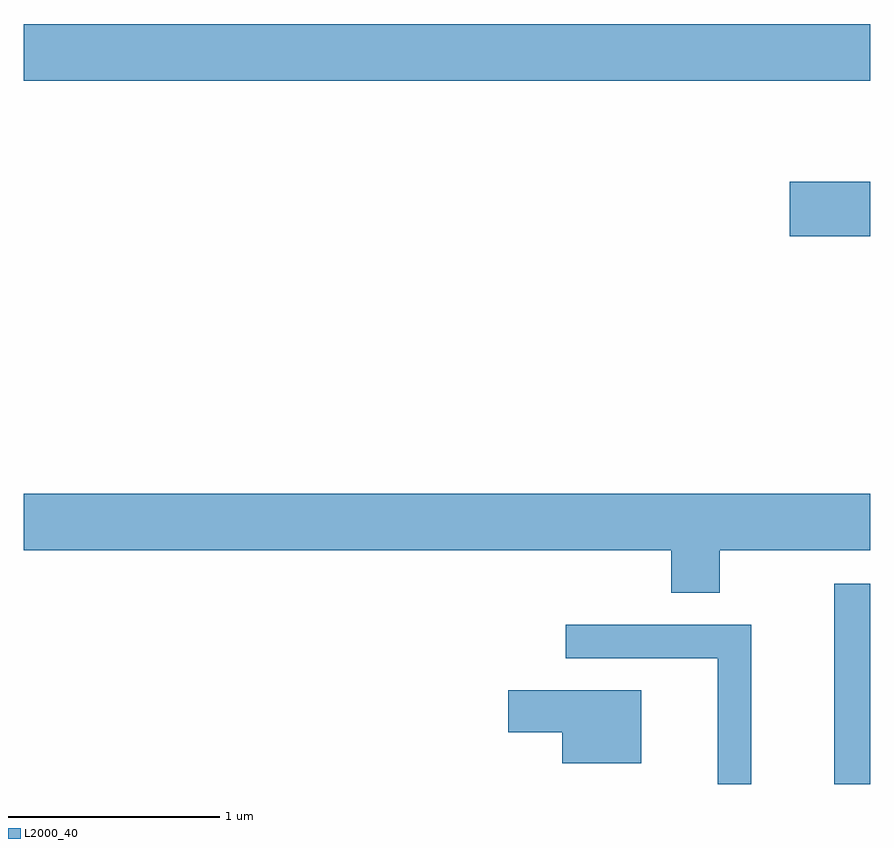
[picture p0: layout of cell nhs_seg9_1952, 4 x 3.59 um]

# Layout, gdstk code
import gdstk
lib = gdstk.Library(unit=1e-6, precision=1e-09)
def R(c, l, rs):  # rectangles x0, y0, x1, y1
    for r in rs: c.add(gdstk.rectangle(r[:2], r[2:], *l))
def P(c, l, *ps):  # polygons
    for p in ps: c.add(gdstk.Polygon(p, *l))
L2000_40 = (2000, 40)

nhs_seg9_1952 = lib.new_cell('nhs_seg9_1952')
R(nhs_seg9_1952, L2000_40, [(245.441,2048.432,245.611,2049.379), (245.231,2051.021,245.611,2051.279), (241.611,2051.756,245.611,2052.024)])
P(nhs_seg9_1952, L2000_40, [(244.899,2049.536),(245.611,2049.536),(245.611,2049.804),(241.611,2049.804),(241.611,2049.536),(244.671,2049.536),(244.671,2049.336),(244.899,2049.336)],
  [(245.049,2049.184),(244.173,2049.184),(244.173,2049.026),(244.891,2049.026),(244.891,2048.432),(245.049,2048.432)],
  [(244.529,2048.874),(243.901,2048.874),(243.901,2048.676),(244.156,2048.676),(244.156,2048.531),(244.529,2048.531)])

lib.write_gds('nhs_seg9_1952.gds')
